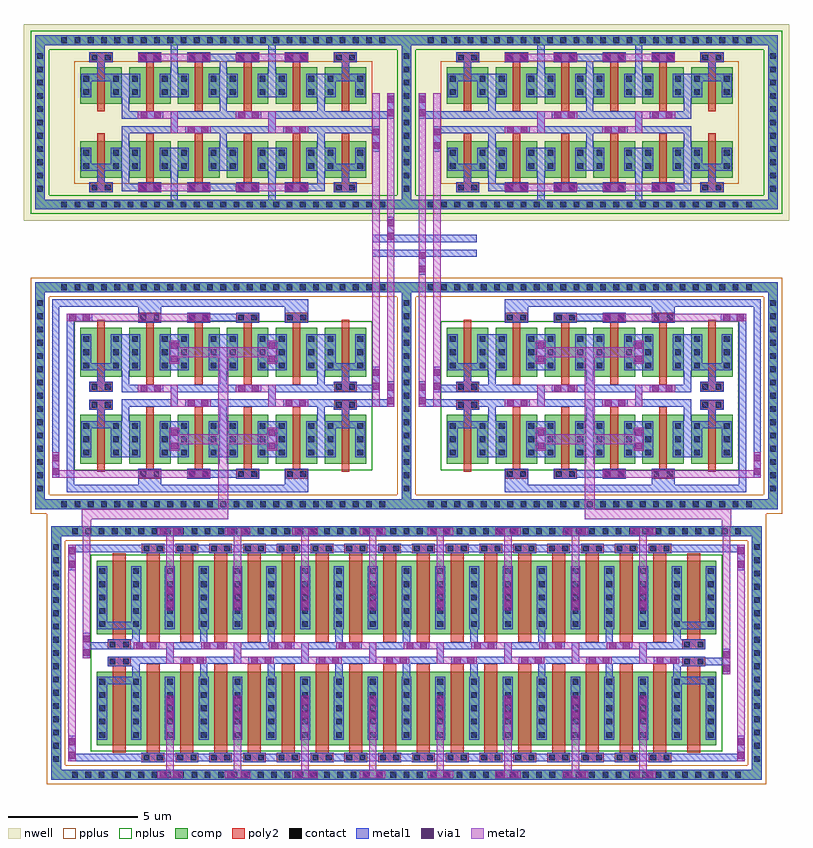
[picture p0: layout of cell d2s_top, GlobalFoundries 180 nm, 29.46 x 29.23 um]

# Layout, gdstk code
from math import pi, radians
import gdstk
lib = gdstk.Library(unit=1e-6, precision=5e-09)
def R(c, l, rs):  # rectangles x0, y0, x1, y1
    for r in rs: c.add(gdstk.rectangle(r[:2], r[2:], *l))
def A(c, l, x, y, w, h, nx, ny, dx, dy):  # array of equal rectangles
    R(c, l, [(x+i*dx, y+j*dy, x+i*dx+w, y+j*dy+h) for i in range(nx) for j in range(ny)])
nwell = (21, 0)
comp = (22, 0)
poly2 = (30, 0)
pplus = (31, 0)
nplus = (32, 0)
contact = (33, 0)
metal1 = (34, 0)
via1 = (35, 0)
metal2 = (36, 0)

d2s_ncell_1_1_1 = lib.new_cell('d2s_ncell_1$1$1')
R(d2s_ncell_1_1_1, comp, [(0,0.3,0.46,2.2), (0.46,0.3,1.14,2.2), (1.14,0.3,1.6,2.2)])
R(d2s_ncell_1_1_1, poly2, [(0.65,0,0.95,2.5)])
A(d2s_ncell_1_1_1, contact, 0.12, 0.63, 0.22, 0.22, 1, 3, 0, 0.51)
A(d2s_ncell_1_1_1, contact, 1.26, 0.63, 0.22, 0.22, 1, 3, 0, 0.51)
R(d2s_ncell_1_1_1, metal1, [(0.04,0.55,0.42,1.95), (1.18,0.55,1.56,1.95)])

d2s_ncell_4_1 = lib.new_cell('d2s_ncell_4$1')
A(d2s_ncell_4_1, poly2, 2.245, 2.4, 0.87, 0.36, 4, 1, 1.88, 0)
R(d2s_ncell_4_1, poly2, [(0.365,-0.26,1.235,0.1), (9.765,-0.26,10.635,0.1)])
R(d2s_ncell_4_1, contact, [(0.435,-0.19,0.655,0.03), (0.945,-0.19,1.165,0.03), (9.835,-0.19,10.055,0.03), (10.345,-0.19,10.565,0.03), (2.315,2.47,2.535,2.69), (2.825,2.47,3.045,2.69), (4.195,2.47,4.415,2.69), (4.705,2.47,4.925,2.69), (6.075,2.47,6.295,2.69), (6.585,2.47,6.805,2.69), (7.955,2.47,8.175,2.69), (8.465,2.47,8.685,2.69)])
A(d2s_ncell_4_1, metal1, 1.56, 0.55, 0.36, 1.4, 5, 1, 1.88, 0)
R(d2s_ncell_4_1, metal1, [(0.355,-0.27,1.245,0.11), (9.755,-0.27,10.645,0.11), (2.235,2.39,3.125,3.28), (4.115,2.39,5.005,2.77), (5.995,2.39,6.885,2.77), (7.875,2.39,8.765,3.28)])
R(d2s_ncell_4_1, via1, [(3.49,0.86,3.75,1.12), (7.25,0.86,7.51,1.12), (3.49,1.38,3.75,1.64), (7.25,1.38,7.51,1.64), (4.17,2.45,4.43,2.71), (4.69,2.45,4.95,2.71)])
R(d2s_ncell_4_1, metal2, [(3.43,0.805,3.81,1.695), (7.19,0.805,7.57,1.695)])
d2s_ncell_4_1.add(gdstk.FlexPath([(0.8,0.11),(0.8,0.55)], 0.28, ends="flush", simple_path=True, layer=34, datatype=0))  # metal1
d2s_ncell_4_1.add(gdstk.FlexPath([(0.42,0.69),(1.18,0.69)], 0.28, ends="flush", simple_path=True, layer=34, datatype=0))  # metal1
d2s_ncell_4_1.add(gdstk.FlexPath([(9.82,0.69),(10.58,0.69)], 0.28, ends="flush", simple_path=True, layer=34, datatype=0))  # metal1
d2s_ncell_4_1.add(gdstk.FlexPath([(10.2,0.11),(10.2,0.55)], 0.28, ends="flush", simple_path=True, layer=34, datatype=0))  # metal1
d2s_ncell_4_1.add(gdstk.FlexPath([(5.995,2.58),(5.005,2.58)], 0.28, ends="flush", simple_path=True, layer=34, datatype=0))  # metal1
d2s_ncell_4_1.add(gdstk.FlexPath([(8.765,3.14),(2.235,3.14)], 0.28, ends="flush", simple_path=True, layer=34, datatype=0))  # metal1
d2s_ncell_4_1.add(gdstk.FlexPath([(3.81,1.25),(7.19,1.25)], 0.38, ends="flush", simple_path=True, layer=36, datatype=0))  # metal2
d2s_ncell_4_1.add(gdstk.Reference(d2s_ncell_1_1_1, (0,0)))
d2s_ncell_4_1.add(gdstk.Reference(d2s_ncell_1_1_1, (1.88,0)))
d2s_ncell_4_1.add(gdstk.Reference(d2s_ncell_1_1_1, (3.76,0)))
d2s_ncell_4_1.add(gdstk.Reference(d2s_ncell_1_1_1, (5.64,0)))
d2s_ncell_4_1.add(gdstk.Reference(d2s_ncell_1_1_1, (7.52,0)))
d2s_ncell_4_1.add(gdstk.Reference(d2s_ncell_1_1_1, (9.4,0)))

d2s_ncell_top = lib.new_cell('d2s_ncell_top')
R(d2s_ncell_top, nplus, [(1.67,1.67,13.15,7.4)])
A(d2s_ncell_top, contact, 1.18, 0.25, 0.22, 0.22, 25, 2, 0.51, 8.35)
A(d2s_ncell_top, contact, 0.25, 0.855, 0.22, 0.22, 1, 15, 0, 0.51)
A(d2s_ncell_top, contact, 14.35, 0.855, 0.22, 0.22, 1, 15, 0, 0.51)
R(d2s_ncell_top, via1, [(0.84,1.49,1.1,1.75), (0.84,2.01,1.1,2.27), (6.05,4.125,6.31,4.385), (6.57,4.125,6.83,4.385), (9.81,4.125,10.07,4.385), (10.33,4.125,10.59,4.385), (13.72,4.215,13.98,4.475), (4.23,4.685,4.49,4.945), (4.75,4.685,5.01,4.945), (7.99,4.685,8.25,4.945), (8.51,4.685,8.77,4.945), (13.72,4.735,13.98,4.995), (13.16,4.775,13.42,5.035), (13.16,5.295,13.42,5.555), (1.49,7.41,1.75,7.67), (2.01,7.41,2.27,7.67)])
d2s_ncell_top.add(gdstk.FlexPath([(1.53,7.68),(1.53,1.11)], 0.28, ends="flush", simple_path=True, layer=34, datatype=0))  # metal1
d2s_ncell_top.add(gdstk.FlexPath([(0.97,8.24),(0.97,1.39)], 0.28, ends="flush", simple_path=True, layer=34, datatype=0))  # metal1
d2s_ncell_top.add(gdstk.FlexPath([(13.29,5.655),(13.29,4.675)], 0.28, ends="flush", simple_path=True, layer=34, datatype=0))  # metal1
d2s_ncell_top.add(gdstk.FlexPath([(11.31,4.255),(13.71,4.255)], 0.28, ends="flush", simple_path=True, layer=34, datatype=0))  # metal1
d2s_ncell_top.add(gdstk.FlexPath([(13.85,5.095),(13.85,4.115)], 0.28, ends="flush", simple_path=True, layer=34, datatype=0))  # metal1
d2s_ncell_top.add(gdstk.FlexPath([(2.37,7.54),(1.39,7.54)], 0.28, ends="flush", simple_path=True, layer=34, datatype=0))  # metal1
d2s_ncell_top.add(gdstk.FlexPath([(4.145,8.1),(1.11,8.1)], 0.28, ends="flush", simple_path=True, layer=34, datatype=0))  # metal1
d2s_ncell_top.add(gdstk.FlexPath([(4.145,0.97),(1.39,0.97)], 0.28, ends="flush", simple_path=True, layer=34, datatype=0))  # metal1
d2s_ncell_top.add(gdstk.FlexPath([(14.46,8.9),(14.46,0.36),(0.36,0.36),(0.36,8.71),(14.27,8.71)], 0.38, ends="flush", simple_path=True, layer=34, datatype=0))  # metal1
d2s_ncell_top.add(gdstk.FlexPath([(11.17,5.51),(11.17,4.955)], 0.28, ends="flush", simple_path=True, layer=34, datatype=0))  # metal1
d2s_ncell_top.add(gdstk.FlexPath([(7.41,5.51),(7.41,4.955)], 0.28, ends="flush", simple_path=True, layer=34, datatype=0))  # metal1
d2s_ncell_top.add(gdstk.FlexPath([(3.65,5.51),(3.65,4.955)], 0.28, ends="flush", simple_path=True, layer=34, datatype=0))  # metal1
d2s_ncell_top.add(gdstk.FlexPath([(6.93,4.815),(5.53,4.815),(5.53,4.255),(4.13,4.255)], 0.28, ends="flush", simple_path=True, layer=34, datatype=0))  # metal1
d2s_ncell_top.add(gdstk.FlexPath([(5.11,4.815),(4.13,4.815)], 0.28, ends="flush", simple_path=True, layer=34, datatype=0))  # metal1
d2s_ncell_top.add(gdstk.FlexPath([(6.93,4.255),(5.95,4.255)], 0.28, ends="flush", simple_path=True, layer=34, datatype=0))  # metal1
d2s_ncell_top.add(gdstk.FlexPath([(6.93,4.815),(7.89,4.815)], 0.28, ends="flush", simple_path=True, layer=34, datatype=0))  # metal1
d2s_ncell_top.add(gdstk.FlexPath([(6.93,4.255),(7.89,4.255)], 0.28, ends="flush", simple_path=True, layer=34, datatype=0))  # metal1
d2s_ncell_top.add(gdstk.FlexPath([(4.13,4.815),(3.51,4.815)], 0.28, ends="flush", simple_path=True, layer=34, datatype=0))  # metal1
d2s_ncell_top.add(gdstk.FlexPath([(4.13,4.255),(3.51,4.255)], 0.28, ends="flush", simple_path=True, layer=34, datatype=0))  # metal1
d2s_ncell_top.add(gdstk.FlexPath([(7.41,5.51),(7.41,4.955)], 0.28, ends="flush", simple_path=True, layer=34, datatype=0))  # metal1
d2s_ncell_top.add(gdstk.FlexPath([(10.69,4.815),(9.29,4.815),(9.29,4.255),(7.89,4.255)], 0.28, ends="flush", simple_path=True, layer=34, datatype=0))  # metal1
d2s_ncell_top.add(gdstk.FlexPath([(8.87,4.815),(7.89,4.815)], 0.28, ends="flush", simple_path=True, layer=34, datatype=0))  # metal1
d2s_ncell_top.add(gdstk.FlexPath([(10.69,4.255),(9.71,4.255)], 0.28, ends="flush", simple_path=True, layer=34, datatype=0))  # metal1
d2s_ncell_top.add(gdstk.FlexPath([(11.31,4.815),(10.69,4.815)], 0.28, ends="flush", simple_path=True, layer=34, datatype=0))  # metal1
d2s_ncell_top.add(gdstk.FlexPath([(11.31,4.255),(10.69,4.255)], 0.28, ends="flush", simple_path=True, layer=34, datatype=0))  # metal1
d2s_ncell_top.add(gdstk.FlexPath([(11.17,4.115),(11.17,3.56)], 0.28, ends="flush", simple_path=True, layer=34, datatype=0))  # metal1
d2s_ncell_top.add(gdstk.FlexPath([(7.41,4.115),(7.41,3.56)], 0.28, ends="flush", simple_path=True, layer=34, datatype=0))  # metal1
d2s_ncell_top.add(gdstk.FlexPath([(3.65,4.115),(3.65,3.56)], 0.28, ends="flush", simple_path=True, layer=34, datatype=0))  # metal1
d2s_ncell_top.add(gdstk.FlexPath([(7.41,4.115),(7.41,3.56)], 0.28, ends="flush", simple_path=True, layer=34, datatype=0))  # metal1
d2s_ncell_top.add(gdstk.FlexPath([(11.31,4.815),(13.15,4.815)], 0.28, ends="flush", simple_path=True, layer=34, datatype=0))  # metal1
d2s_ncell_top.add(gdstk.FlexPath([(14.46,8.9),(14.46,0.36),(0.36,0.36),(0.36,8.71),(14.27,8.71)], 0.38, ends="flush", simple_path=True, layer=22, datatype=0))  # comp
d2s_ncell_top.add(gdstk.FlexPath([(6.92,7.54),(1.39,7.54)], 0.28, ends="flush", simple_path=True, layer=36, datatype=0))  # metal2
d2s_ncell_top.add(gdstk.FlexPath([(6.92,1.53),(1.11,1.53)], 0.28, ends="flush", simple_path=True, layer=36, datatype=0))  # metal2
d2s_ncell_top.add(gdstk.FlexPath([(13.85,8.9),(13.85,4.115)], 0.28, ends="flush", simple_path=True, layer=36, datatype=0))  # metal2
d2s_ncell_top.add(gdstk.FlexPath([(13.29,5.655),(13.29,4.675)], 0.28, ends="flush", simple_path=True, layer=36, datatype=0))  # metal2
d2s_ncell_top.add(gdstk.FlexPath([(13.85,5.095),(13.85,4.115)], 0.28, ends="flush", simple_path=True, layer=36, datatype=0))  # metal2
d2s_ncell_top.add(gdstk.FlexPath([(13.29,8.9),(13.29,4.115)], 0.28, ends="flush", simple_path=True, layer=36, datatype=0))  # metal2
d2s_ncell_top.add(gdstk.FlexPath([(0.97,1.39),(0.97,2.37)], 0.28, ends="flush", simple_path=True, layer=36, datatype=0))  # metal2
d2s_ncell_top.add(gdstk.FlexPath([(10.69,4.255),(9.29,4.255),(9.29,4.815),(7.89,4.815)], 0.28, ends="flush", simple_path=True, layer=36, datatype=0))  # metal2
d2s_ncell_top.add(gdstk.FlexPath([(6.93,4.255),(5.53,4.255),(5.53,4.815),(4.13,4.815)], 0.28, ends="flush", simple_path=True, layer=36, datatype=0))  # metal2
d2s_ncell_top.add(gdstk.FlexPath([(7.41,6.02),(7.41,0.17)], 0.38, ends="flush", simple_path=True, layer=36, datatype=0))  # metal2
d2s_ncell_top.add(gdstk.FlexPath([(14.46,9.07),(14.46,0.36),(0.36,0.36),(0.36,8.71),(14.26,8.71)], 0.72, ends="flush", simple_path=True, layer=31, datatype=0))  # pplus
d2s_ncell_top.add(gdstk.Reference(d2s_ncell_4_1, (1.91,4.96)))
d2s_ncell_top.add(gdstk.Reference(d2s_ncell_4_1, (1.91,4.11), x_reflection=True))

d2s_tail_current_ncell_1 = lib.new_cell('d2s_tail_current_ncell_1$2')
R(d2s_tail_current_ncell_1, comp, [(0,0.3,0.42,3.12), (0.42,0.3,1.3,3.12), (1.3,0.3,1.72,3.12)])
R(d2s_tail_current_ncell_1, poly2, [(0.61,0,1.11,3.42)])
A(d2s_tail_current_ncell_1, contact, 0.1, 0.58, 0.22, 0.22, 1, 5, 0, 0.51)
A(d2s_tail_current_ncell_1, contact, 1.4, 0.58, 0.22, 0.22, 1, 5, 0, 0.51)
R(d2s_tail_current_ncell_1, metal1, [(0.02,0.5,0.4,2.92), (1.32,0.5,1.7,2.92)])

c_d2s_tail_current_ncell_1 = lib.new_cell('d2s_tail_current_ncell_1$1$1$1')
R(c_d2s_tail_current_ncell_1, comp, [(0,0.3,0.42,3.12), (0.42,0.3,1.3,3.12), (1.3,0.3,1.72,3.12)])
R(c_d2s_tail_current_ncell_1, poly2, [(0.61,0,1.11,3.42)])
A(c_d2s_tail_current_ncell_1, contact, 0.1, 0.58, 0.22, 0.22, 1, 5, 0, 0.51)
A(c_d2s_tail_current_ncell_1, contact, 1.4, 0.58, 0.22, 0.22, 1, 5, 0, 0.51)
R(c_d2s_tail_current_ncell_1, metal1, [(0.02,0.5,0.4,2.92), (1.32,0.5,1.7,2.92)])

d2s_tail_current_ncell_4 = lib.new_cell('d2s_tail_current_ncell_4$1$1')
A(d2s_tail_current_ncell_4, poly2, 0.425, 3.42, 0.87, 0.36, 4, 1, 1.3, 0)
R(d2s_tail_current_ncell_4, contact, [(0.495,3.49,0.715,3.71), (1.005,3.49,1.225,3.71), (1.795,3.49,2.015,3.71), (2.305,3.49,2.525,3.71), (3.095,3.49,3.315,3.71), (3.605,3.49,3.825,3.71), (4.395,3.49,4.615,3.71), (4.905,3.49,5.125,3.71)])
A(d2s_tail_current_ncell_4, metal1, 0.415, 3.41, 0.89, 0.38, 4, 1, 1.3, 0)
d2s_tail_current_ncell_4.add(gdstk.Reference(c_d2s_tail_current_ncell_1, (0,0)))
d2s_tail_current_ncell_4.add(gdstk.Reference(c_d2s_tail_current_ncell_1, (1.3,0)))
d2s_tail_current_ncell_4.add(gdstk.Reference(c_d2s_tail_current_ncell_1, (2.6,0)))
d2s_tail_current_ncell_4.add(gdstk.Reference(c_d2s_tail_current_ncell_1, (3.9,0)))

c_d2s_tail_current_ncell_4 = lib.new_cell('d2s_tail_current_ncell_4_4$1')
R(c_d2s_tail_current_ncell_4, via1, [(1.12,0.23,1.38,0.49), (1.64,0.23,1.9,0.49), (3.72,0.23,3.98,0.49), (4.24,0.23,4.5,0.49), (1.38,2.52,1.64,2.78), (3.98,2.52,4.24,2.78), (1.38,3.04,1.64,3.3), (3.98,3.04,4.24,3.3), (2.03,4.63,2.29,4.89), (2.55,4.63,2.81,4.89), (4.63,4.63,4.89,4.89), (5.15,4.63,5.41,4.89), (0.21,5.19,0.47,5.45), (0.73,5.19,0.99,5.45), (2.81,5.19,3.07,5.45), (3.33,5.19,3.59,5.45), (1.38,6.78,1.64,7.04), (3.98,6.78,4.24,7.04), (1.38,7.3,1.64,7.56), (3.98,7.3,4.24,7.56), (1.12,9.59,1.38,9.85), (1.64,9.59,1.9,9.85), (3.72,9.59,3.98,9.85), (4.24,9.59,4.5,9.85)])
c_d2s_tail_current_ncell_4.add(gdstk.FlexPath([(1.305,1.02),(5.41,1.02)], 0.28, ends="flush", simple_path=True, layer=34, datatype=0))  # metal1
c_d2s_tail_current_ncell_4.add(gdstk.FlexPath([(2.81,5.96),(2.81,5.46)], 0.28, ends="flush", simple_path=True, layer=34, datatype=0))  # metal1
c_d2s_tail_current_ncell_4.add(gdstk.FlexPath([(0.21,9.72),(5.41,9.72)], 0.38, ends="flush", simple_path=True, layer=34, datatype=0))  # metal1
c_d2s_tail_current_ncell_4.add(gdstk.FlexPath([(2.81,4.12),(2.81,4.62)], 0.28, ends="flush", simple_path=True, layer=34, datatype=0))  # metal1
c_d2s_tail_current_ncell_4.add(gdstk.FlexPath([(0.21,4.12),(0.21,4.62)], 0.28, ends="flush", simple_path=True, layer=34, datatype=0))  # metal1
c_d2s_tail_current_ncell_4.add(gdstk.FlexPath([(0.21,5.96),(0.21,5.46)], 0.28, ends="flush", simple_path=True, layer=34, datatype=0))  # metal1
c_d2s_tail_current_ncell_4.add(gdstk.FlexPath([(2.91,5.32),(1.51,5.32),(1.51,4.76),(0.07,4.76)], 0.28, ends="flush", simple_path=True, layer=34, datatype=0))  # metal1
c_d2s_tail_current_ncell_4.add(gdstk.FlexPath([(1.09,5.32),(0.07,5.32)], 0.28, ends="flush", simple_path=True, layer=34, datatype=0))  # metal1
c_d2s_tail_current_ncell_4.add(gdstk.FlexPath([(5.41,4.12),(5.41,4.62)], 0.28, ends="flush", simple_path=True, layer=34, datatype=0))  # metal1
c_d2s_tail_current_ncell_4.add(gdstk.FlexPath([(5.55,5.32),(4.11,5.32),(4.11,4.76),(2.71,4.76)], 0.28, ends="flush", simple_path=True, layer=34, datatype=0))  # metal1
c_d2s_tail_current_ncell_4.add(gdstk.FlexPath([(3.69,5.32),(2.71,5.32)], 0.28, ends="flush", simple_path=True, layer=34, datatype=0))  # metal1
c_d2s_tail_current_ncell_4.add(gdstk.FlexPath([(5.41,5.96),(5.41,5.46)], 0.28, ends="flush", simple_path=True, layer=34, datatype=0))  # metal1
c_d2s_tail_current_ncell_4.add(gdstk.FlexPath([(2.81,4.12),(2.81,4.62)], 0.28, ends="flush", simple_path=True, layer=34, datatype=0))  # metal1
c_d2s_tail_current_ncell_4.add(gdstk.FlexPath([(5.55,4.76),(4.53,4.76)], 0.28, ends="flush", simple_path=True, layer=34, datatype=0))  # metal1
c_d2s_tail_current_ncell_4.add(gdstk.FlexPath([(2.81,5.96),(2.81,5.46)], 0.28, ends="flush", simple_path=True, layer=34, datatype=0))  # metal1
c_d2s_tail_current_ncell_4.add(gdstk.FlexPath([(2.91,4.76),(1.93,4.76)], 0.28, ends="flush", simple_path=True, layer=34, datatype=0))  # metal1
c_d2s_tail_current_ncell_4.add(gdstk.FlexPath([(1.305,9.06),(5.41,9.06)], 0.28, ends="flush", simple_path=True, layer=34, datatype=0))  # metal1
c_d2s_tail_current_ncell_4.add(gdstk.FlexPath([(0.21,0.36),(5.41,0.36)], 0.38, ends="flush", simple_path=True, layer=34, datatype=0))  # metal1
c_d2s_tail_current_ncell_4.add(gdstk.FlexPath([(0.21,9.72),(5.41,9.72)], 0.38, ends="flush", simple_path=True, layer=22, datatype=0))  # comp
c_d2s_tail_current_ncell_4.add(gdstk.FlexPath([(0.21,0.36),(5.41,0.36)], 0.38, ends="flush", simple_path=True, layer=22, datatype=0))  # comp
c_d2s_tail_current_ncell_4.add(gdstk.FlexPath([(2.91,4.76),(1.51,4.76),(1.51,5.32),(0.11,5.32)], 0.28, ends="flush", simple_path=True, layer=36, datatype=0))  # metal2
c_d2s_tail_current_ncell_4.add(gdstk.FlexPath([(5.51,4.76),(4.11,4.76),(4.11,5.32),(2.71,5.32)], 0.28, ends="flush", simple_path=True, layer=36, datatype=0))  # metal2
c_d2s_tail_current_ncell_4.add(gdstk.FlexPath([(4.11,6.68),(4.11,7.66)], 0.28, ends="flush", simple_path=True, layer=36, datatype=0))  # metal2
c_d2s_tail_current_ncell_4.add(gdstk.FlexPath([(1.51,6.68),(1.51,7.66)], 0.28, ends="flush", simple_path=True, layer=36, datatype=0))  # metal2
c_d2s_tail_current_ncell_4.add(gdstk.FlexPath([(4.11,2.42),(4.11,3.4)], 0.28, ends="flush", simple_path=True, layer=36, datatype=0))  # metal2
c_d2s_tail_current_ncell_4.add(gdstk.FlexPath([(1.51,2.42),(1.51,3.4)], 0.28, ends="flush", simple_path=True, layer=36, datatype=0))  # metal2
c_d2s_tail_current_ncell_4.add(gdstk.FlexPath([(1.02,9.72),(2,9.72)], 0.28, ends="flush", simple_path=True, layer=36, datatype=0))  # metal2
c_d2s_tail_current_ncell_4.add(gdstk.FlexPath([(1.51,7.66),(1.51,9.58)], 0.28, ends="flush", simple_path=True, layer=36, datatype=0))  # metal2
c_d2s_tail_current_ncell_4.add(gdstk.FlexPath([(4.11,7.66),(4.11,9.58)], 0.28, ends="flush", simple_path=True, layer=36, datatype=0))  # metal2
c_d2s_tail_current_ncell_4.add(gdstk.FlexPath([(3.62,9.72),(4.6,9.72)], 0.28, ends="flush", simple_path=True, layer=36, datatype=0))  # metal2
c_d2s_tail_current_ncell_4.add(gdstk.FlexPath([(1.02,0.36),(2,0.36)], 0.28, ends="flush", simple_path=True, layer=36, datatype=0))  # metal2
c_d2s_tail_current_ncell_4.add(gdstk.FlexPath([(1.51,2.42),(1.51,0.5)], 0.28, ends="flush", simple_path=True, layer=36, datatype=0))  # metal2
c_d2s_tail_current_ncell_4.add(gdstk.FlexPath([(4.11,2.42),(4.11,0.5)], 0.28, ends="flush", simple_path=True, layer=36, datatype=0))  # metal2
c_d2s_tail_current_ncell_4.add(gdstk.FlexPath([(3.62,0.36),(4.6,0.36)], 0.28, ends="flush", simple_path=True, layer=36, datatype=0))  # metal2
c_d2s_tail_current_ncell_4.add(gdstk.FlexPath([(0.21,9.72),(5.41,9.72)], 0.72, ends="flush", simple_path=True, layer=31, datatype=0))  # pplus
c_d2s_tail_current_ncell_4.add(gdstk.FlexPath([(0.21,0.36),(5.41,0.36)], 0.72, ends="flush", simple_path=True, layer=31, datatype=0))  # pplus
c_d2s_tail_current_ncell_4.add(gdstk.Reference(d2s_tail_current_ncell_4, (0,5.46)))
c_d2s_tail_current_ncell_4.add(gdstk.Reference(d2s_tail_current_ncell_4, (0,4.62), x_reflection=True))

m1_m2 = lib.new_cell('M1_M2')
R(m1_m2, via1, [(0.1,0.01,0.36,0.27), (0.62,0.01,0.88,0.27)])
m1_m2.add(gdstk.FlexPath([(0,0.14),(0.98,0.14)], 0.28, ends="flush", simple_path=True, layer=34, datatype=0))  # metal1
m1_m2.add(gdstk.FlexPath([(0,0.14),(0.98,0.14)], 0.28, ends="flush", simple_path=True, layer=36, datatype=0))  # metal2

d2s_tail_current_top = lib.new_cell('d2s_tail_current_top')
R(d2s_tail_current_top, poly2, [(2.355,4.53,3.225,4.89), (24.455,4.53,25.325,4.89), (2.355,5.19,3.225,5.55), (24.455,5.19,25.325,5.55)])
R(d2s_tail_current_top, nplus, [(1.69,1.26,25.99,8.82)])
A(d2s_tail_current_top, contact, 0.98, 0.25, 0.22, 0.22, 51, 2, 0.51, 9.36)
A(d2s_tail_current_top, contact, 0.25, 0.85, 0.22, 0.22, 1, 17, 0, 0.51)
A(d2s_tail_current_top, contact, 27.21, 0.85, 0.22, 0.22, 1, 17, 0, 0.51)
R(d2s_tail_current_top, contact, [(2.425,4.6,2.645,4.82), (2.935,4.6,3.155,4.82), (24.525,4.6,24.745,4.82), (25.035,4.6,25.255,4.82), (2.425,5.26,2.645,5.48), (2.935,5.26,3.155,5.48), (24.525,5.26,24.745,5.48), (25.035,5.26,25.255,5.48)])
R(d2s_tail_current_top, metal1, [(2.345,4.52,3.235,4.9), (3.235,4.52,3.3,4.9), (24.38,4.52,24.445,4.9), (24.445,4.52,25.335,4.9), (2.345,5.18,3.235,5.56), (3.235,5.18,3.3,5.56), (24.38,5.18,24.445,5.56), (24.445,5.18,25.335,5.56)])
d2s_tail_current_top.add(gdstk.FlexPath([(24.24,9.72),(27.32,9.72),(27.32,0.36),(24.24,0.36)], 0.38, ends="flush", simple_path=True, layer=34, datatype=0))  # metal1
d2s_tail_current_top.add(gdstk.FlexPath([(3.44,9.72),(0.36,9.72),(0.36,0.36),(3.44,0.36)], 0.38, ends="flush", simple_path=True, layer=34, datatype=0))  # metal1
d2s_tail_current_top.add(gdstk.FlexPath([(13.635,9.06),(14.045,9.06)], 0.28, ends="flush", simple_path=True, layer=34, datatype=0))  # metal1
d2s_tail_current_top.add(gdstk.FlexPath([(13.635,1.02),(14.045,1.02)], 0.28, ends="flush", simple_path=True, layer=34, datatype=0))  # metal1
d2s_tail_current_top.add(gdstk.FlexPath([(25.35,6.1),(24.43,6.1)], 0.28, ends="flush", simple_path=True, layer=34, datatype=0))  # metal1
d2s_tail_current_top.add(gdstk.FlexPath([(25.35,3.98),(24.43,3.98)], 0.28, ends="flush", simple_path=True, layer=34, datatype=0))  # metal1
d2s_tail_current_top.add(gdstk.FlexPath([(2.33,6.1),(3.25,6.1)], 0.28, ends="flush", simple_path=True, layer=34, datatype=0))  # metal1
d2s_tail_current_top.add(gdstk.FlexPath([(2.33,3.98),(3.25,3.98)], 0.28, ends="flush", simple_path=True, layer=34, datatype=0))  # metal1
d2s_tail_current_top.add(gdstk.FlexPath([(2.345,5.32),(1.67,5.32)], 0.28, ends="flush", simple_path=True, layer=34, datatype=0))  # metal1
d2s_tail_current_top.add(gdstk.FlexPath([(24.035,9.06),(26.85,9.06)], 0.28, ends="flush", simple_path=True, layer=34, datatype=0))  # metal1
d2s_tail_current_top.add(gdstk.FlexPath([(24.035,1.02),(26.85,1.02)], 0.28, ends="flush", simple_path=True, layer=34, datatype=0))  # metal1
d2s_tail_current_top.add(gdstk.FlexPath([(3.645,1.02),(0.83,1.02)], 0.28, ends="flush", simple_path=True, layer=34, datatype=0))  # metal1
d2s_tail_current_top.add(gdstk.FlexPath([(3.645,9.06),(0.83,9.06)], 0.28, ends="flush", simple_path=True, layer=34, datatype=0))  # metal1
d2s_tail_current_top.add(gdstk.FlexPath([(25.335,4.71),(26.01,4.71)], 0.28, ends="flush", simple_path=True, layer=34, datatype=0))  # metal1
d2s_tail_current_top.add(gdstk.FlexPath([(24.24,9.72),(27.32,9.72),(27.32,0.36),(24.24,0.36)], 0.38, ends="flush", simple_path=True, layer=22, datatype=0))  # comp
d2s_tail_current_top.add(gdstk.FlexPath([(3.44,9.72),(0.36,9.72),(0.36,0.36),(3.44,0.36)], 0.38, ends="flush", simple_path=True, layer=22, datatype=0))  # comp
d2s_tail_current_top.add(gdstk.FlexPath([(26.15,9.91),(26.15,4.22)], 0.28, ends="flush", simple_path=True, layer=36, datatype=0))  # metal2
d2s_tail_current_top.add(gdstk.FlexPath([(1.53,9.91),(1.53,4.83)], 0.28, ends="flush", simple_path=True, layer=36, datatype=0))  # metal2
d2s_tail_current_top.add(gdstk.FlexPath([(26.71,9.2),(26.71,0.88)], 0.28, ends="flush", simple_path=True, layer=36, datatype=0))  # metal2
d2s_tail_current_top.add(gdstk.FlexPath([(0.97,9.2),(0.97,0.88)], 0.28, ends="flush", simple_path=True, layer=36, datatype=0))  # metal2
d2s_tail_current_top.add(gdstk.FlexPath([(24.24,9.72),(27.32,9.72),(27.32,0.36),(24.24,0.36)], 0.72, ends="flush", simple_path=True, layer=31, datatype=0))  # pplus
d2s_tail_current_top.add(gdstk.FlexPath([(3.44,9.72),(0.36,9.72),(0.36,0.36),(3.44,0.36)], 0.72, ends="flush", simple_path=True, layer=31, datatype=0))  # pplus
d2s_tail_current_top.add(gdstk.Reference(d2s_tail_current_ncell_1, (24.03,5.46)))
d2s_tail_current_top.add(gdstk.Reference(d2s_tail_current_ncell_1, (24.03,1.2)))
d2s_tail_current_top.add(gdstk.Reference(d2s_tail_current_ncell_1, (3.65,5.46), rotation=pi, x_reflection=True))
d2s_tail_current_top.add(gdstk.Reference(d2s_tail_current_ncell_1, (3.65,1.2), rotation=pi, x_reflection=True))
d2s_tail_current_top.add(gdstk.Reference(c_d2s_tail_current_ncell_4, (13.63,0)))
d2s_tail_current_top.add(gdstk.Reference(c_d2s_tail_current_ncell_4, (3.23,0)))
d2s_tail_current_top.add(gdstk.Reference(c_d2s_tail_current_ncell_4, (14.05,10.08), rotation=pi))
d2s_tail_current_top.add(gdstk.Reference(c_d2s_tail_current_ncell_4, (24.45,10.08), rotation=pi))
d2s_tail_current_top.add(gdstk.Reference(m1_m2, (26.85,8.22), rotation=pi/2))
d2s_tail_current_top.add(gdstk.Reference(m1_m2, (26.29,4.22), rotation=pi/2))
d2s_tail_current_top.add(gdstk.Reference(m1_m2, (0.83,1.86), rotation=3*pi/2))
d2s_tail_current_top.add(gdstk.Reference(m1_m2, (0.83,8.22), rotation=pi/2, x_reflection=True))
d2s_tail_current_top.add(gdstk.Reference(m1_m2, (1.39,4.83), rotation=pi/2, x_reflection=True))
d2s_tail_current_top.add(gdstk.Reference(m1_m2, (26.85,1.86), rotation=3*pi/2, x_reflection=True))

d2s_pcell_1_1_1 = lib.new_cell('d2s_pcell_1$1$1')
R(d2s_pcell_1_1_1, comp, [(0,0.3,0.46,1.7), (0.46,0.3,1.14,1.7), (1.14,0.3,1.6,1.7)])
R(d2s_pcell_1_1_1, poly2, [(0.65,0,0.95,2)])
R(d2s_pcell_1_1_1, contact, [(0.12,0.635,0.34,0.855), (1.26,0.635,1.48,0.855), (0.12,1.145,0.34,1.365), (1.26,1.145,1.48,1.365)])
R(d2s_pcell_1_1_1, metal1, [(0.04,0.555,0.42,1.445), (1.18,0.555,1.56,1.445)])

d2s_pcell_4_1 = lib.new_cell('d2s_pcell_4$1')
A(d2s_pcell_4_1, poly2, 0.365, 1.9, 0.87, 0.36, 6, 1, 1.88, 0)
R(d2s_pcell_4_1, contact, [(0.435,1.97,0.655,2.19), (0.945,1.97,1.165,2.19), (2.315,1.97,2.535,2.19), (2.825,1.97,3.045,2.19), (4.195,1.97,4.415,2.19), (4.705,1.97,4.925,2.19), (6.075,1.97,6.295,2.19), (6.585,1.97,6.805,2.19), (7.955,1.97,8.175,2.19), (8.465,1.97,8.685,2.19), (9.835,1.97,10.055,2.19), (10.345,1.97,10.565,2.19)])
A(d2s_pcell_4_1, metal1, 1.56, 0.555, 0.36, 0.89, 5, 1, 1.88, 0)
A(d2s_pcell_4_1, metal1, 0.355, 1.89, 0.89, 0.38, 6, 1, 1.88, 0)
R(d2s_pcell_4_1, via1, [(2.29,1.95,2.55,2.21), (2.81,1.95,3.07,2.21), (4.17,1.95,4.43,2.21), (4.69,1.95,4.95,2.21), (6.05,1.95,6.31,2.21), (6.57,1.95,6.83,2.21), (7.93,1.95,8.19,2.21), (8.45,1.95,8.71,2.21)])
d2s_pcell_4_1.add(gdstk.FlexPath([(10.2,1.89),(10.2,1.445)], 0.28, ends="flush", simple_path=True, layer=34, datatype=0))  # metal1
d2s_pcell_4_1.add(gdstk.FlexPath([(9.82,1.305),(10.58,1.305)], 0.28, ends="flush", simple_path=True, layer=34, datatype=0))  # metal1
d2s_pcell_4_1.add(gdstk.FlexPath([(0.8,1.89),(0.8,1.445)], 0.28, ends="flush", simple_path=True, layer=34, datatype=0))  # metal1
d2s_pcell_4_1.add(gdstk.FlexPath([(1.18,1.305),(0.42,1.305)], 0.28, ends="flush", simple_path=True, layer=34, datatype=0))  # metal1
d2s_pcell_4_1.add(gdstk.FlexPath([(5.01,2.08),(2.23,2.08)], 0.28, ends="flush", simple_path=True, layer=36, datatype=0))  # metal2
d2s_pcell_4_1.add(gdstk.FlexPath([(8.77,2.08),(5.99,2.08)], 0.28, ends="flush", simple_path=True, layer=36, datatype=0))  # metal2
d2s_pcell_4_1.add(gdstk.Reference(d2s_pcell_1_1_1, (1.88,0)))
d2s_pcell_4_1.add(gdstk.Reference(d2s_pcell_1_1_1, (3.76,0)))
d2s_pcell_4_1.add(gdstk.Reference(d2s_pcell_1_1_1, (5.64,0)))
d2s_pcell_4_1.add(gdstk.Reference(d2s_pcell_1_1_1, (7.52,0)))
d2s_pcell_4_1.add(gdstk.Reference(d2s_pcell_1_1_1, (9.4,0)))
d2s_pcell_4_1.add(gdstk.Reference(d2s_pcell_1_1_1, (1.6,0), rotation=pi, x_reflection=True))

d2s_pcell_top = lib.new_cell('d2s_pcell_top')
R(d2s_pcell_top, nwell, [(0,0,15.36,7.575)])
R(d2s_pcell_top, pplus, [(1.94,1.43,13.42,6.15)])
A(d2s_pcell_top, contact, 1.45, 0.52, 0.22, 0.22, 25, 2, 0.51, 6.32)
A(d2s_pcell_top, contact, 0.52, 1.13, 0.22, 0.22, 1, 11, 0, 0.51)
A(d2s_pcell_top, contact, 14.62, 1.13, 0.22, 0.22, 1, 11, 0, 0.51)
R(d2s_pcell_top, via1, [(13.43,2.77,13.69,3.03), (13.43,3.29,13.69,3.55), (6.32,3.38,6.58,3.64), (6.84,3.38,7.1,3.64), (10.08,3.38,10.34,3.64), (10.6,3.38,10.86,3.64), (4.5,3.94,4.76,4.2), (5.02,3.94,5.28,4.2), (8.26,3.94,8.52,4.2), (8.78,3.94,9.04,4.2), (13.99,4.03,14.25,4.29), (13.99,4.55,14.25,4.81)])
d2s_pcell_top.add(gdstk.FlexPath([(14.73,7.14),(14.73,0.63),(0.63,0.63),(0.63,6.95),(14.54,6.95)], 0.38, ends="flush", simple_path=True, layer=34, datatype=0))  # metal1
d2s_pcell_top.add(gdstk.FlexPath([(14.12,3.93),(14.12,4.91)], 0.28, ends="flush", simple_path=True, layer=34, datatype=0))  # metal1
d2s_pcell_top.add(gdstk.FlexPath([(11.58,3.51),(13.7,3.51)], 0.28, ends="flush", simple_path=True, layer=34, datatype=0))  # metal1
d2s_pcell_top.add(gdstk.FlexPath([(13.56,2.67),(13.56,3.65)], 0.28, ends="flush", simple_path=True, layer=34, datatype=0))  # metal1
d2s_pcell_top.add(gdstk.FlexPath([(11.58,4.07),(14.17,4.07)], 0.28, ends="flush", simple_path=True, layer=34, datatype=0))  # metal1
d2s_pcell_top.add(gdstk.FlexPath([(11.44,4.765),(11.44,4.21)], 0.28, ends="flush", simple_path=True, layer=34, datatype=0))  # metal1
d2s_pcell_top.add(gdstk.FlexPath([(7.68,4.765),(7.68,4.21)], 0.28, ends="flush", simple_path=True, layer=34, datatype=0))  # metal1
d2s_pcell_top.add(gdstk.FlexPath([(3.92,4.765),(3.92,4.21)], 0.28, ends="flush", simple_path=True, layer=34, datatype=0))  # metal1
d2s_pcell_top.add(gdstk.FlexPath([(7.2,4.07),(5.8,4.07),(5.8,3.51),(4.4,3.51)], 0.28, ends="flush", simple_path=True, layer=34, datatype=0))  # metal1
d2s_pcell_top.add(gdstk.FlexPath([(5.38,4.07),(4.4,4.07)], 0.28, ends="flush", simple_path=True, layer=34, datatype=0))  # metal1
d2s_pcell_top.add(gdstk.FlexPath([(7.2,3.51),(6.22,3.51)], 0.28, ends="flush", simple_path=True, layer=34, datatype=0))  # metal1
d2s_pcell_top.add(gdstk.FlexPath([(7.2,4.07),(8.16,4.07)], 0.28, ends="flush", simple_path=True, layer=34, datatype=0))  # metal1
d2s_pcell_top.add(gdstk.FlexPath([(7.2,3.51),(8.16,3.51)], 0.28, ends="flush", simple_path=True, layer=34, datatype=0))  # metal1
d2s_pcell_top.add(gdstk.FlexPath([(4.4,4.07),(3.78,4.07)], 0.28, ends="flush", simple_path=True, layer=34, datatype=0))  # metal1
d2s_pcell_top.add(gdstk.FlexPath([(4.4,3.51),(3.78,3.51)], 0.28, ends="flush", simple_path=True, layer=34, datatype=0))  # metal1
d2s_pcell_top.add(gdstk.FlexPath([(7.68,4.765),(7.68,4.21)], 0.28, ends="flush", simple_path=True, layer=34, datatype=0))  # metal1
d2s_pcell_top.add(gdstk.FlexPath([(10.96,4.07),(9.56,4.07),(9.56,3.51),(8.16,3.51)], 0.28, ends="flush", simple_path=True, layer=34, datatype=0))  # metal1
d2s_pcell_top.add(gdstk.FlexPath([(7.68,5.655),(7.68,6.15)], 0.28, ends="flush", simple_path=True, layer=34, datatype=0))  # metal1
d2s_pcell_top.add(gdstk.FlexPath([(10.945,1.29),(11.44,1.29),(11.44,1.925)], 0.28, ends="flush", simple_path=True, layer=34, datatype=0))  # metal1
d2s_pcell_top.add(gdstk.FlexPath([(4.415,1.29),(3.92,1.29),(3.92,1.925)], 0.28, ends="flush", simple_path=True, layer=34, datatype=0))  # metal1
d2s_pcell_top.add(gdstk.FlexPath([(9.14,4.07),(8.16,4.07)], 0.28, ends="flush", simple_path=True, layer=34, datatype=0))  # metal1
d2s_pcell_top.add(gdstk.FlexPath([(10.96,3.51),(9.98,3.51)], 0.28, ends="flush", simple_path=True, layer=34, datatype=0))  # metal1
d2s_pcell_top.add(gdstk.FlexPath([(11.58,4.07),(10.96,4.07)], 0.28, ends="flush", simple_path=True, layer=34, datatype=0))  # metal1
d2s_pcell_top.add(gdstk.FlexPath([(11.58,3.51),(10.96,3.51)], 0.28, ends="flush", simple_path=True, layer=34, datatype=0))  # metal1
d2s_pcell_top.add(gdstk.FlexPath([(11.44,3.37),(11.44,2.815)], 0.28, ends="flush", simple_path=True, layer=34, datatype=0))  # metal1
d2s_pcell_top.add(gdstk.FlexPath([(7.68,3.37),(7.68,2.815)], 0.28, ends="flush", simple_path=True, layer=34, datatype=0))  # metal1
d2s_pcell_top.add(gdstk.FlexPath([(3.92,3.37),(3.92,2.815)], 0.28, ends="flush", simple_path=True, layer=34, datatype=0))  # metal1
d2s_pcell_top.add(gdstk.FlexPath([(7.68,3.37),(7.68,2.815)], 0.28, ends="flush", simple_path=True, layer=34, datatype=0))  # metal1
d2s_pcell_top.add(gdstk.FlexPath([(8.175,6.29),(7.185,6.29)], 0.28, ends="flush", simple_path=True, layer=34, datatype=0))  # metal1
d2s_pcell_top.add(gdstk.FlexPath([(8.175,1.29),(7.185,1.29)], 0.28, ends="flush", simple_path=True, layer=34, datatype=0))  # metal1
d2s_pcell_top.add(gdstk.FlexPath([(5.8,1.925),(5.8,0.82)], 0.28, ends="flush", simple_path=True, layer=34, datatype=0))  # metal1
d2s_pcell_top.add(gdstk.FlexPath([(9.56,1.925),(9.56,0.82)], 0.28, ends="flush", simple_path=True, layer=34, datatype=0))  # metal1
d2s_pcell_top.add(gdstk.FlexPath([(5.8,6.76),(5.8,5.655)], 0.28, ends="flush", simple_path=True, layer=34, datatype=0))  # metal1
d2s_pcell_top.add(gdstk.FlexPath([(9.56,6.76),(9.56,5.655)], 0.28, ends="flush", simple_path=True, layer=34, datatype=0))  # metal1
d2s_pcell_top.add(gdstk.FlexPath([(14.73,7.14),(14.73,0.63),(0.63,0.63),(0.63,6.95),(14.54,6.95)], 0.38, ends="flush", simple_path=True, layer=22, datatype=0))  # comp
d2s_pcell_top.add(gdstk.FlexPath([(14.12,4.91),(14.12,0.44)], 0.28, ends="flush", simple_path=True, layer=36, datatype=0))  # metal2
d2s_pcell_top.add(gdstk.FlexPath([(13.56,4.91),(13.56,0.44)], 0.28, ends="flush", simple_path=True, layer=36, datatype=0))  # metal2
d2s_pcell_top.add(gdstk.FlexPath([(10.96,3.51),(9.56,3.51),(9.56,4.07),(8.16,4.07)], 0.28, ends="flush", simple_path=True, layer=36, datatype=0))  # metal2
d2s_pcell_top.add(gdstk.FlexPath([(7.2,3.51),(5.8,3.51),(5.8,4.07),(4.4,4.07)], 0.28, ends="flush", simple_path=True, layer=36, datatype=0))  # metal2
d2s_pcell_top.add(gdstk.FlexPath([(14.73,7.14),(14.73,0.63),(0.63,0.63),(0.63,6.95),(15.09,6.95)], 0.72, ends="flush", simple_path=True, layer=32, datatype=0))  # nplus
d2s_pcell_top.add(gdstk.Reference(d2s_pcell_4_1, (2.18,4.21)))
d2s_pcell_top.add(gdstk.Reference(d2s_pcell_4_1, (2.18,3.37), x_reflection=True))

d2s_top = lib.new_cell('d2s_top')
R(d2s_top, pplus, [(3.635,3.685,31.315,4.005)])
R(d2s_top, via1, [(17.955,13.285,18.215,13.545), (17.955,13.805,18.215,14.065), (16.735,14.545,16.995,14.805), (16.735,15.065,16.995,15.325)])
d2s_top.add(gdstk.FlexPath([(16.16,14.025),(20.18,14.025)], 0.28, ends="flush", simple_path=True, layer=34, datatype=0))  # metal1
d2s_top.add(gdstk.FlexPath([(16.16,14.585),(20.18,14.585)], 0.28, ends="flush", simple_path=True, layer=34, datatype=0))  # metal1
d2s_top.add(gdstk.FlexPath([(18.085,13.185),(18.085,14.165)], 0.28, ends="flush", simple_path=True, layer=34, datatype=0))  # metal1
d2s_top.add(gdstk.FlexPath([(16.865,14.445),(16.865,15.425)], 0.28, ends="flush", simple_path=True, layer=34, datatype=0))  # metal1
d2s_top.add(gdstk.FlexPath([(18.085,12.905),(18.085,15.705)], 0.28, ends="flush", simple_path=True, layer=36, datatype=0))  # metal2
d2s_top.add(gdstk.FlexPath([(18.645,12.905),(18.645,15.705)], 0.28, ends="flush", simple_path=True, layer=36, datatype=0))  # metal2
d2s_top.add(gdstk.FlexPath([(16.865,12.905),(16.865,15.705)], 0.28, ends="flush", simple_path=True, layer=36, datatype=0))  # metal2
d2s_top.add(gdstk.FlexPath([(16.305,12.905),(16.305,15.705)], 0.28, ends="flush", simple_path=True, layer=36, datatype=0))  # metal2
d2s_top.add(gdstk.FlexPath([(10.425,4.175),(10.425,3.985),(5.165,3.985),(5.165,3.515)], 0.38, ends="flush", simple_path=True, layer=36, datatype=0))  # metal2
d2s_top.add(gdstk.FlexPath([(24.525,4.175),(24.525,3.985),(29.785,3.985),(29.785,3.515)], 0.38, ends="flush", simple_path=True, layer=36, datatype=0))  # metal2
d2s_top.add(gdstk.Reference(d2s_ncell_top, (3.015,4.005)))
d2s_top.add(gdstk.Reference(d2s_tail_current_top, (3.635,-6.395)))
d2s_top.add(gdstk.Reference(d2s_pcell_top, (2.745,15.265)))
d2s_top.add(gdstk.Reference(d2s_pcell_top, (32.205,15.265), rotation=pi, x_reflection=True))
d2s_top.add(gdstk.Reference(d2s_ncell_top, (31.935,4.005), rotation=pi, x_reflection=True))

lib.write_gds('d2s_top.gds')
